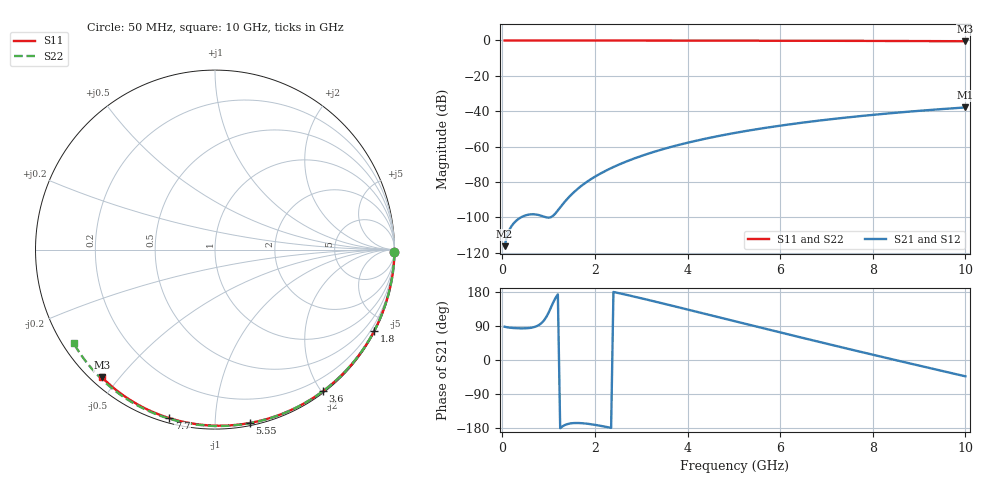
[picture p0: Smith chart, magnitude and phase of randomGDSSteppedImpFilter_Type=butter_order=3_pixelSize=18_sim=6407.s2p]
! freq	dB(S11)	phase(S11)	dB(S12)	phase(S12)
!  dB(S21)	phase(S21)	dB(S22)	phase(S22)
!S-par simulation data
#  GHz  S  DB  R 50
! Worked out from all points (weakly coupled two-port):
!   200 points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, 50 MHz to 10 GHz, reference 50 ohm
!   highest |S21| = -37.90 dB at 10 GHz (marker M1); lowest = -116.4 dB at 50 MHz (marker M2)
!   lowest |S11| = -0.4 dB at 10 GHz (marker M3), VSWR 39.08, Z = 1.54 - j22.5 ohm
!   |S11| at or under -10 dB: nowhere
!   |S22| runs from -0.5 to 0.0 dB; largest |S21 - S12| = 0
!   S11 on the Smith chart (normalised r, x): 50 MHz: open; 1.8 GHz: 0.04, -4.17; 3.6 GHz: 0.02, -2.02; 5.55 GHz: 0.02, -1.22; 7.7 GHz: 0.02, -0.77; 10 GHz: 0.03, -0.45
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0.05  -0.00 -0.8  -116.39 87.9  -116.39 87.9  -0.00 -0.9
0.45  -0.01 -6.8  -99.48 83.5  -99.48 83.5  -0.01 -7.7
0.9  -0.02 -13.6  -99.70 104.4  -99.70 104.4  -0.02 -15.2
1.3  -0.02 -19.6  -92.81 -175.1  -92.81 -175.1  -0.03 -21.9
1.75  -0.03 -26.2  -81.44 -167.1  -81.44 -167.1  -0.04 -29.3
1.8  -0.03 -27.0  -80.49 -167.7  -80.49 -167.7  -0.04 -30.2
1.85  -0.04 -27.7  -79.59 -168.4  -79.59 -168.4  -0.04 -31.0
2.05  -0.04 -30.6  -76.32 -172.1  -76.32 -172.1  -0.04 -34.2
2.2  -0.04 -32.8  -74.18 -175.5  -74.18 -175.5  -0.05 -36.7
2.55  -0.05 -37.9  -69.87 175.6  -69.87 175.6  -0.05 -42.3
2.95  -0.06 -43.6  -65.82 164.4  -65.82 164.4  -0.06 -48.7
3.4  -0.07 -49.9  -62.04 151.2  -62.04 151.2  -0.07 -55.7
3.6  -0.07 -52.7  -60.55 145.3  -60.55 145.3  -0.08 -58.8
4.3  -0.09 -62.3  -56.07 124.2  -56.07 124.2  -0.10 -69.4
5.05  -0.11 -72.2  -52.19 101.5  -52.19 101.5  -0.12 -80.4
5.55  -0.13 -78.7  -49.99 86.4  -49.99 86.4  -0.14 -87.5
6.1  -0.15 -85.7  -47.85 69.9  -47.85 69.9  -0.17 -95.2
6.7  -0.18 -93.1  -45.79 52.0  -45.79 52.0  -0.20 -103.4
7.7  -0.24 -105.1  -42.87 22.6  -42.87 22.6  -0.27 -116.7
8.35  -0.29 -112.7  -41.25 3.8  -41.25 3.8  -0.32 -125.2
9.2  -0.36 -122.5  -39.40 -20.5  -39.40 -20.5  -0.40 -136.1
10  -0.44 -131.5  -37.90 -43.1  -37.90 -43.1  -0.49 -146.4
